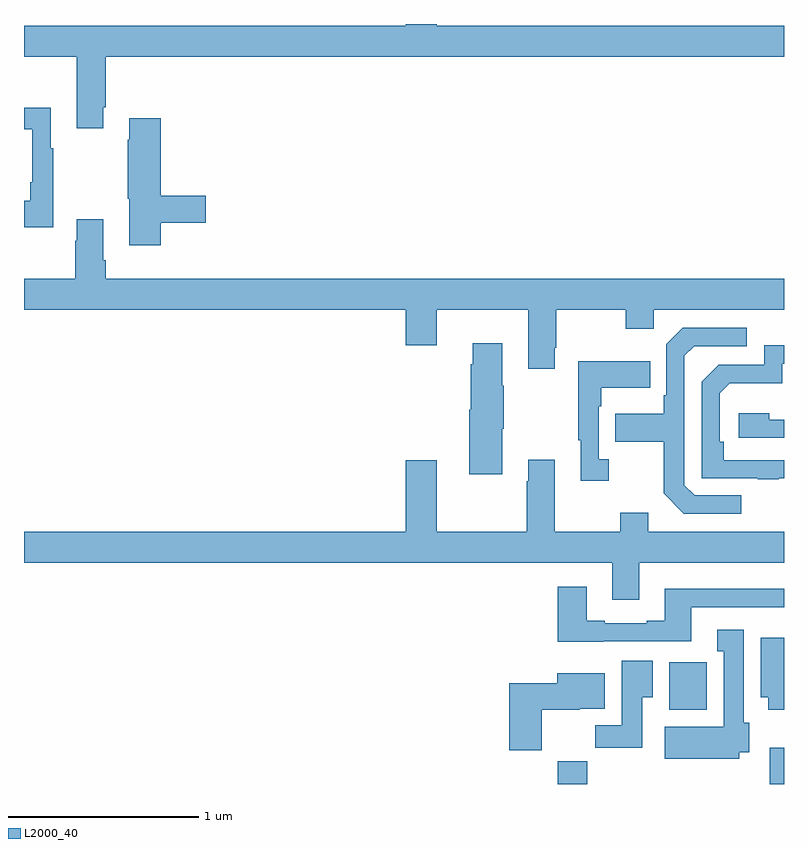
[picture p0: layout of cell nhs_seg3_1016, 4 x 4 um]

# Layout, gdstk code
import gdstk
lib = gdstk.Library(unit=1e-6, precision=1e-09)
def R(c, l, rs):  # rectangles x0, y0, x1, y1
    for r in rs: c.add(gdstk.rectangle(r[:2], r[2:], *l))
def P(c, l, *ps):  # polygons
    for p in ps: c.add(gdstk.Polygon(p, *l))
L2000_40 = (2000, 40)

nhs_seg3_1016 = lib.new_cell('nhs_seg3_1016')
R(nhs_seg3_1016, L2000_40, [(165.809,718.4,165.965,718.52), (166.925,718.4,167,718.591), (166.397,718.79,166.593,719.041)])
P(nhs_seg3_1016, L2000_40, [(163.417,721.963),(163.43,721.963),(163.43,722.228),(167,722.228),(167,722.392),(165.172,722.392),(165.172,722.4),(165.008,722.4),(165.008,722.392),(163,722.392),(163,722.228),(163.277,722.228),(163.277,721.851),(163.417,721.851)],
  [(163.153,721.747),(163.141,721.747),(163.141,721.96),(163,721.96),(163,721.847),(163.044,721.847),(163.044,721.567),(163.032,721.567),(163.032,721.471),(163,721.471),(163,721.331),(163.153,721.331)],
  [(163.721,721.354),(163.957,721.354),(163.957,721.496),(163.721,721.496),(163.721,721.903),(163.553,721.903),(163.553,721.79),(163.546,721.79),(163.546,721.479),(163.553,721.479),(163.553,721.236),(163.721,721.236)],
  [(165.793,720.697),(165.801,720.697),(165.801,720.896),(166.168,720.896),(166.168,720.797),(166.314,720.797),(166.314,720.896),(167,720.896),(167,721.06),(163.43,721.06),(163.43,721.156),(163.417,721.156),(163.417,721.372),(163.277,721.372),(163.277,721.259),(163.27,721.259),(163.27,721.06),(163,721.06),(163,720.896),(165.008,720.896),(165.008,720.708),(165.172,720.708),(165.172,720.896),(165.653,720.896),(165.653,720.585),(165.793,720.585)],
  [(166.774,719.919),(166.53,719.919),(166.476,719.973),(166.476,720.654),(166.527,720.705),(166.804,720.705),(166.804,720.801),(166.467,720.801),(166.38,720.714),(166.38,720.445),(166.368,720.445),(166.368,720.349),(166.111,720.349),(166.111,720.202),(166.368,720.202),(166.368,719.929),(166.473,719.823),(166.774,719.823)],
  [(165.517,720.269),(165.525,720.269),(165.525,720.497),(165.517,720.497),(165.517,720.721),(165.362,720.721),(165.362,720.608),(165.35,720.608),(165.35,720.369),(165.344,720.369),(165.344,720.029),(165.517,720.029)],
  [(166.973,720.009),(167,720.009),(167,720.105),(166.682,720.105),(166.682,720.202),(166.662,720.202),(166.662,720.456),(166.715,720.509),(166.992,720.509),(166.992,720.612),(167,720.612),(167,720.708),(166.896,720.708),(166.896,720.606),(166.656,720.606),(166.566,720.516),(166.566,720.009),(166.861,720.009),(166.861,720.004),(166.973,720.004)],
  [(166.078,720.11),(166.026,720.11),(166.026,720.389),(166.039,720.389),(166.039,720.485),(166.295,720.485),(166.295,720.625),(165.918,720.625),(165.918,720.209),(165.929,720.209),(165.929,719.997),(166.078,719.997)],
  [(167,720.318),(166.922,720.318),(166.922,720.352),(166.761,720.352),(166.761,720.222),(167,720.222)],
  [(166.237,719.564),(167,719.564),(167,719.728),(166.285,719.728),(166.285,719.827),(166.138,719.827),(166.138,719.728),(165.793,719.728),(165.793,720.106),(165.653,720.106),(165.653,719.993),(165.646,719.993),(165.646,719.728),(165.172,719.728),(165.172,720.103),(165.008,720.103),(165.008,719.728),(163,719.728),(163,719.564),(166.097,719.564),(166.097,719.37),(166.237,719.37)],
  [(166.049,719.151),(166.513,719.151),(166.513,719.331),(167,719.331),(167,719.428),(166.373,719.428),(166.373,719.26),(166.277,719.26),(166.277,719.247),(166.057,719.247),(166.057,719.26),(165.961,719.26),(165.961,719.437),(165.809,719.437),(165.809,719.15),(166.049,719.15)],
  [(166.765,718.568),(166.816,718.568),(166.816,718.722),(166.789,718.722),(166.789,719.212),(166.649,719.212),(166.649,719.099),(166.682,719.099),(166.682,718.702),(166.373,718.702),(166.373,718.532),(166.765,718.532)],
  [(167,719.17),(166.877,719.17),(166.877,718.856),(166.916,718.856),(166.916,718.79),(167,718.79)],
  [(166.255,718.856),(166.309,718.856),(166.309,719.05),(166.145,719.05),(166.145,718.708),(166.006,718.708),(166.006,718.59),(166.255,718.59)],
  [(165.724,718.79),(165.924,718.79),(165.924,718.796),(166.057,718.796),(166.057,718.984),(165.806,718.984),(165.806,718.93),(165.554,718.93),(165.554,718.578),(165.724,718.578)])

lib.write_gds('nhs_seg3_1016.gds')
